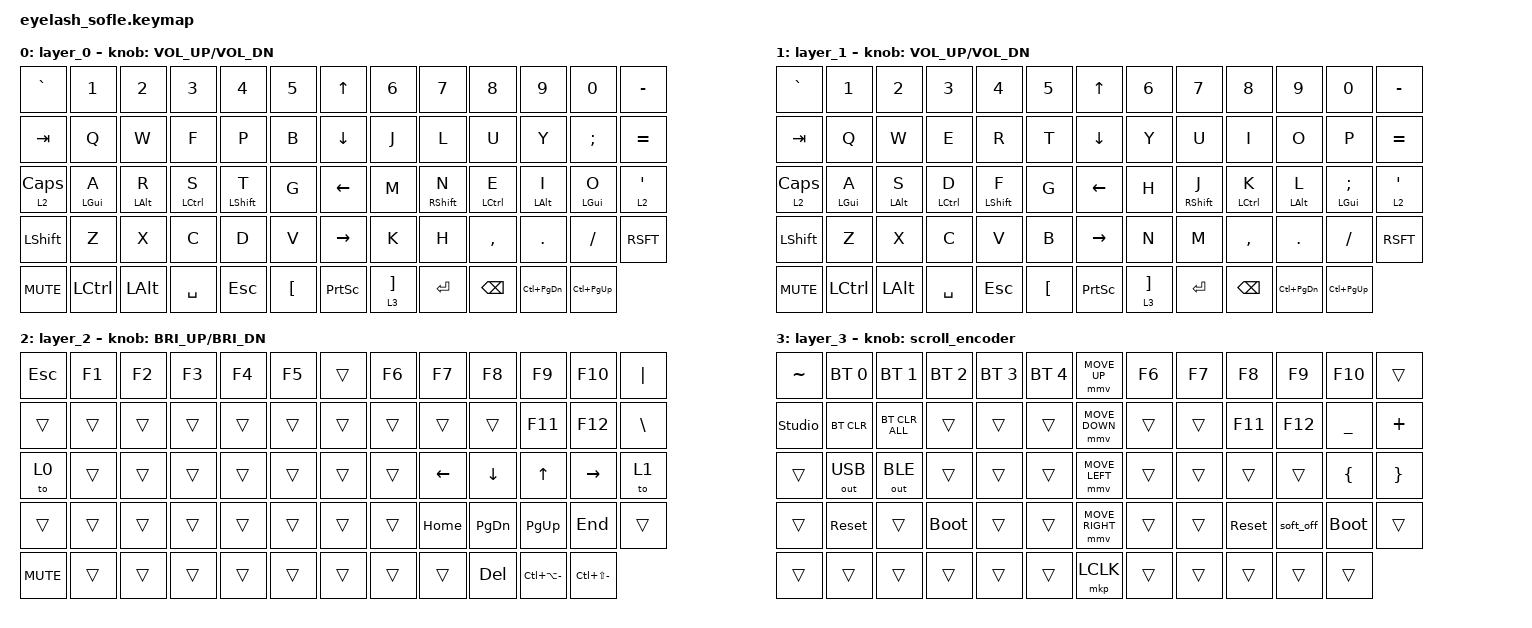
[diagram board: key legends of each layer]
#include <behaviors.dtsi>
#include <dt-bindings/zmk/bt.h>
#include <dt-bindings/zmk/keys.h>
#include <dt-bindings/zmk/mouse.h>
#include <dt-bindings/zmk/outputs.h>
#include <dt-bindings/zmk/rgb.h>

#include <input/processors.dtsi>

/*

   &mmv_input_listener {
       input-processors = <&zip_xy_scaler 2 1>;
   };

   &msc_input_listener {
       input-processors = <&zip_xy_scaler 2 1>;
   };

 */

#define ZMK_MOUSE_DEFAULT_MOVE_VAL 1200  // 600
#define ZMK_MOUSE_DEFAULT_SCRL_VAL 140   // 10

#define KEYS_L 0 1 2 3 4 5 13 14 15 16 17 18 26 27 28 29 30 31 39 40 41 42 43 44
#define KEYS_R 7 8 9 10 11 12 20 21 22 23 24 25 33 34 35 36 37 38 46 47 48 49 50 51
#define KEYS_L_ALPHA 14 15 16 17 18 27 28 29 30 31 40 41 42 43 44
#define KEYS_R_ALPHA 20 21 22 23 24 33 34 35 36 37 46 47 48 49 50
#define KEYS_L_NON_ALPHA 0 1 2 3 4 5 13 26 39
#define KEYS_R_NON_ALPHA 7 8 9 10 11 12 25 38 51
#define NON_ALPHA 0 1 2 3 4 5 7 8 9 10 11 12 13 25 26 38 39 51
#define THUMBS 53 54 55 56 57 59 60 61 62 63

/ {
    behaviors {
        mmv {
            acceleration-exponent = <1>;      // 1
            time-to-max-speed-ms = <900>;    // 40
            delay-ms = <0>;                   // 0
        };

        msc {
            acceleration-exponent = <1>;      // 0
            time-to-max-speed-ms = <400>;      // 500
            delay-ms = <0>;                   //   10
        };

        hml: hml {
            compatible = "zmk,behavior-hold-tap";
            #binding-cells = <2>;
            flavor = "balanced";
            tapping-term-ms = <280>;
            quick-tap-ms = <175>;
            require-prior-idle-ms = <150>;
            bindings = <&kp>, <&kp>;
            hold-trigger-key-positions = <KEYS_R_ALPHA NON_ALPHA THUMBS>;
            hold-trigger-on-release;
        };

        hmr: hmr {
            compatible = "zmk,behavior-hold-tap";
            #binding-cells = <2>;
            flavor = "balanced";
            tapping-term-ms = <280>;
            quick-tap-ms = <175>;
            require-prior-idle-ms = <150>;
            bindings = <&kp>, <&kp>;
            hold-trigger-key-positions = <KEYS_L_ALPHA NON_ALPHA THUMBS>;
            hold-trigger-on-release;
        };

        scroll_encoder: scroll_encoder {
            compatible = "zmk,behavior-sensor-rotate";
            #sensor-binding-cells = <0>;
            bindings = <&msc SCRL_DOWN>, <&msc SCRL_UP>;

            tap-ms = <30>;
        };
    };

    keymap {
        compatible = "zmk,keymap";

        layer_0 {
            bindings = <
&kp GRAVE   &kp N1        &kp N2        &kp N3        &kp N4        &kp N5       &kp UP           &kp N6      &kp N7        &kp N8        &kp N9           &kp N0      &kp MINUS
&kp TAB     &kp Q         &kp W         &kp F         &kp P         &kp B        &kp DOWN         &kp J       &kp L         &kp U         &kp Y            &kp SEMI    &kp EQUAL
&lt 2 CAPS  &hml LGUI A   &hml LALT R   &hml LCTRL S  &hml LSHFT T  &kp G        &kp LEFT         &kp M       &hmr RSHFT N  &hmr LCTRL E  &hmr LALT I      &hmr LGUI O &lt 2 SQT
&kp LSHFT   &kp Z         &kp X         &kp C         &kp D         &kp V        &kp RIGHT        &kp K       &kp H         &kp COMMA     &kp DOT          &kp FSLH    &kp RSFT
&kp C_MUTE  &kp LCTRL     &kp LALT      &kp SPACE     &kp ESC       &kp LBKT     &kp PSCRN        &lt 3 RBKT   &kp ENTER    &kp BSPC      &kp LC(PG_DN)    &kp LC(PG_UP)
            >;

            sensor-bindings = <&inc_dec_kp C_VOLUME_UP C_VOL_DN>;
        };

        layer_1 {
            bindings = <
&kp GRAVE   &kp N1        &kp N2        &kp N3        &kp N4        &kp N5       &kp UP           &kp N6      &kp N7        &kp N8        &kp N9           &kp N0         &kp MINUS
&kp TAB     &kp Q         &kp W         &kp E         &kp R         &kp T        &kp DOWN         &kp Y       &kp U         &kp I         &kp O            &kp P          &kp EQUAL
&lt 2 CAPS  &hml LGUI A   &hml LALT S   &hml LCTRL D  &hml LSHFT F  &kp G        &kp LEFT         &kp H       &hmr RSHFT J  &hmr LCTRL K  &hmr LALT L      &hmr LGUI SEMI &lt 2 SQT
&kp LSHFT   &kp Z         &kp X         &kp C         &kp V         &kp B        &kp RIGHT        &kp N       &kp M         &kp COMMA     &kp DOT          &kp FSLH       &kp RSFT
&kp C_MUTE  &kp LCTRL     &kp LALT      &kp SPACE     &kp ESC       &kp LBKT     &kp PSCRN        &lt 3 RBKT   &kp ENTER    &kp BSPC      &kp LC(PG_DN)    &kp LC(PG_UP)
            >;

            sensor-bindings = <&inc_dec_kp C_VOLUME_UP C_VOL_DN>;
        };

        layer_2 {
            bindings = <
&kp ESC     &kp F1           &kp F2          &kp F3           &kp F4           &kp F5             &trans            &kp F6           &kp F7           &kp F8      &kp F9            &kp F10           &kp PIPE
&trans      &trans           &trans          &trans           &trans           &trans             &trans            &trans           &trans           &trans      &kp F11           &kp F12           &kp BSLH
&to 0       &trans           &trans          &trans           &trans           &trans             &trans            &trans           &kp LEFT         &kp DOWN    &kp UP            &kp RIGHT         &to 1
&trans      &trans           &trans          &trans           &trans           &trans             &trans            &trans           &kp HOME         &kp PG_DN   &kp PG_UP         &kp END           &trans
&kp C_MUTE  &trans           &trans          &trans           &trans           &trans             &trans            &trans           &trans           &kp DEL     &kp LC(LA(MINUS)) &kp LC(LS(MINUS))
            >;

            sensor-bindings = <&inc_dec_kp C_BRI_UP C_BRI_DN>;
        };

        layer_3 {
            bindings = <
&kp TILDE  &bt BT_SEL 0  &bt BT_SEL 1    &bt BT_SEL 2  &bt BT_SEL 3  &bt BT_SEL 4    &mmv MOVE_UP     &kp F6  &kp F7  &kp F8      &kp F9     &kp F10      &trans
&studio_unlock      &bt BT_CLR    &bt BT_CLR_ALL  &trans        &trans        &trans          &mmv MOVE_DOWN   &trans  &trans  &kp F11     &kp F12    &kp UNDER    &kp PLUS
&trans     &out OUT_USB  &out OUT_BLE    &trans        &trans        &trans          &mmv MOVE_LEFT   &trans  &trans  &trans      &trans     &kp LBRC     &kp RBRC
&trans     &sys_reset    &trans          &bootloader   &trans        &trans          &mmv MOVE_RIGHT  &trans  &trans  &sys_reset  &soft_off  &bootloader  &trans
&trans     &trans        &trans          &trans        &trans        &trans          &mkp LCLK        &trans  &trans  &trans      &trans     &trans
            >;

            sensor-bindings = <&scroll_encoder>;
        };
    };
};
